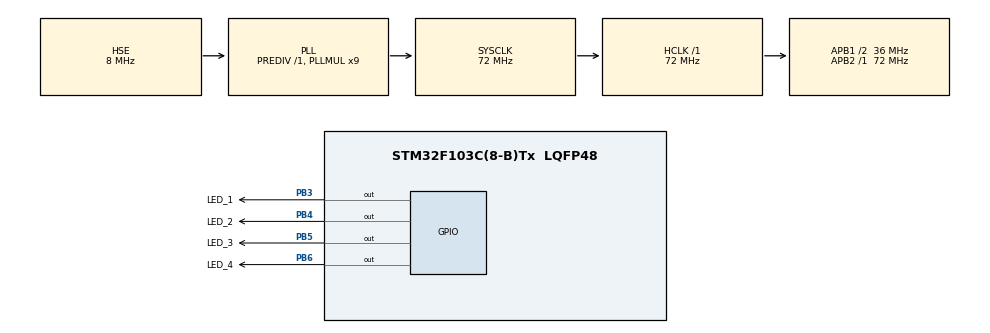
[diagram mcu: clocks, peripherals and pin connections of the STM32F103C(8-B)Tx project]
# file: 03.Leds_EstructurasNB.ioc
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Mcu.Family=STM32F1
Mcu.Name=STM32F103C(8-B)Tx
Mcu.Package=LQFP48
NVIC.PriorityGroup=NVIC_PRIORITYGROUP_4
PB3.GPIO_Label=LED_1
PB3.Signal=GPIO_Output
PB4.GPIO_Label=LED_2
PB4.Signal=GPIO_Output
PB5.GPIO_Label=LED_3
PB5.Signal=GPIO_Output
PB6.GPIO_Label=LED_4
PB6.Signal=GPIO_Output
PD0-OSC_IN.Mode=HSE-External-Oscillator
PD0-OSC_IN.Signal=RCC_OSC_IN
PD1-OSC_OUT.Mode=HSE-External-Oscillator
PD1-OSC_OUT.Signal=RCC_OSC_OUT
ProjectManager.HeapSize=0x200
ProjectManager.StackSize=0x400
ProjectManager.TargetToolchain=STM32CubeIDE
RCC.AHBFreq_Value=72000000
RCC.APB1CLKDivider=RCC_HCLK_DIV2
RCC.APB1Freq_Value=36000000
RCC.APB1TimFreq_Value=72000000
RCC.APB2Freq_Value=72000000
RCC.APB2TimFreq_Value=72000000
RCC.HCLKFreq_Value=72000000
RCC.PLLMUL=RCC_PLL_MUL9
RCC.PLLSourceVirtual=RCC_PLLSOURCE_HSE
RCC.SYSCLKFreq_VALUE=72000000
RCC.SYSCLKSource=RCC_SYSCLKSOURCE_PLLCLK
RCC.USBFreq_Value=72000000
VP_SYS_VS_ND.Mode=No_Debug
board=custom

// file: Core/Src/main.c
/* USER CODE BEGIN Header */
/**
 ******************************************************************************
 * @file           : main.c
 * @brief          : Main program body
 ******************************************************************************
 * @attention
 *
 * Copyright (c) 2026 STMicroelectronics.
 * All rights reserved.
 *
 * This software is licensed under terms that can be found in the LICENSE file
 * in the root directory of this software component.
 * If no LICENSE file comes with this software, it is provided AS-IS.
 *
 ******************************************************************************
 */
/* USER CODE END Header */
#include "main.h"

/* USER CODE BEGIN PTD */

/* Estructura para mapeo y estado de un pin de salida / LED */
typedef struct {
	GPIO_TypeDef *port;
	uint16_t      pin;
	GPIO_PinState estado_activo; /* GPIO_PIN_SET (activo alto) o GPIO_PIN_RESET (activo bajo) */
} OutputPin_t;

/* USER CODE END PTD */

/* USER CODE BEGIN PM */

/* Instancias individuales */
OutputPin_t led_rojo = {LED_1_GPIO_Port, LED_1_Pin,  GPIO_PIN_SET};   /* Activo en ALTO */
OutputPin_t led_blanco  = {LED_2_GPIO_Port, LED_2_Pin,  GPIO_PIN_SET};   /* Activo en ALTO */
OutputPin_t led_amarillo  = {LED_3_GPIO_Port, LED_3_Pin, GPIO_PIN_SET}; /* Activo en ALTO */
OutputPin_t led_azul  = {LED_4_GPIO_Port, LED_4_Pin, GPIO_PIN_SET}; /* Activo en ALTO */

/* Arreglo de salidas para control secuencial o indexado */
OutputPin_t leds[] = {
		{LED_1_GPIO_Port, LED_1_Pin,  GPIO_PIN_SET},
		{LED_2_GPIO_Port, LED_2_Pin,  GPIO_PIN_SET},
		{LED_3_GPIO_Port, LED_3_Pin,  GPIO_PIN_SET},
		{LED_4_GPIO_Port, LED_4_Pin,  GPIO_PIN_SET}
};

#define NUM_LEDS (sizeof(leds) / sizeof(leds[0]))

/* USER CODE END PM */

/* USER CODE BEGIN PV */

uint32_t tick_led_rojo = 0;
uint32_t tick_arreglo  = 0;

/* USER CODE END PV */

void SystemClock_Config(void);
static void MX_GPIO_Init(void);

int main(void)
{

	/* MCU Configuration--------------------------------------------------------*/

	/* Reset of all peripherals, Initializes the Flash interface and the Systick. */
	HAL_Init();

	/* Configure the system clock */
	SystemClock_Config();

	/* Initialize all configured peripherals */
	MX_GPIO_Init();
	/* USER CODE BEGIN 2 */

	/* Inicialización: Apagar todos los LEDs evaluando su nivel activo */
	for (uint8_t i = 0; i < NUM_LEDS; i++)
	{
		GPIO_PinState off_state = (leds[i].estado_activo == GPIO_PIN_SET) ? GPIO_PIN_RESET : GPIO_PIN_SET;
		HAL_GPIO_WritePin(leds[i].port, leds[i].pin, off_state);
	}

	/* USER CODE END 2 */

	/* Infinite loop */
	while (1)
	{

		/* USER CODE BEGIN 3 */

		uint32_t actual_tick = HAL_GetTick();

		/* 1. Tarea independiente para el LED Rojo (Cada 500 ms conmuta) */
		if ((actual_tick - tick_led_rojo) >= 500)
		{
			tick_led_rojo = actual_tick;
			HAL_GPIO_TogglePin(led_rojo.port, led_rojo.pin);
		}

		/* 2. Tarea independiente para el Arreglo de LEDs (Cada 200 ms conmuta) */
		if ((actual_tick - tick_arreglo) >= 200)
		{
			tick_arreglo = actual_tick;
			for (uint8_t i = 1; i < NUM_LEDS; i++)
			{
				HAL_GPIO_TogglePin(leds[i].port, leds[i].pin);
			}
		}
	}
	/* USER CODE END 3 */
}

void SystemClock_Config(void)
{
	RCC_OscInitTypeDef RCC_OscInitStruct = {0};
	RCC_ClkInitTypeDef RCC_ClkInitStruct = {0};

	/** Initializes the RCC Oscillators according to the specified parameters
	 * in the RCC_OscInitTypeDef structure.
	 */
	RCC_OscInitStruct.OscillatorType = RCC_OSCILLATORTYPE_HSE;
	RCC_OscInitStruct.HSEState = RCC_HSE_ON;
	RCC_OscInitStruct.HSEPredivValue = RCC_HSE_PREDIV_DIV1;
	RCC_OscInitStruct.HSIState = RCC_HSI_ON;
	RCC_OscInitStruct.PLL.PLLState = RCC_PLL_ON;
	RCC_OscInitStruct.PLL.PLLSource = RCC_PLLSOURCE_HSE;
	RCC_OscInitStruct.PLL.PLLMUL = RCC_PLL_MUL9;
	if (HAL_RCC_OscConfig(&RCC_OscInitStruct) != HAL_OK)
	{
		Error_Handler();
	}

	/** Initializes the CPU, AHB and APB buses clocks
	 */
	RCC_ClkInitStruct.ClockType = RCC_CLOCKTYPE_HCLK|RCC_CLOCKTYPE_SYSCLK
			|RCC_CLOCKTYPE_PCLK1|RCC_CLOCKTYPE_PCLK2;
	RCC_ClkInitStruct.SYSCLKSource = RCC_SYSCLKSOURCE_PLLCLK;
	RCC_ClkInitStruct.AHBCLKDivider = RCC_SYSCLK_DIV1;
	RCC_ClkInitStruct.APB1CLKDivider = RCC_HCLK_DIV2;
	RCC_ClkInitStruct.APB2CLKDivider = RCC_HCLK_DIV1;

	if (HAL_RCC_ClockConfig(&RCC_ClkInitStruct, FLASH_LATENCY_2) != HAL_OK)
	{
		Error_Handler();
	}
}

static void MX_GPIO_Init(void)
{
	GPIO_InitTypeDef GPIO_InitStruct = {0};

	/* GPIO Ports Clock Enable */
	__HAL_RCC_GPIOD_CLK_ENABLE();
	__HAL_RCC_GPIOB_CLK_ENABLE();

	/*Configure GPIO pin Output Level */
	HAL_GPIO_WritePin(GPIOB, LED_1_Pin|LED_2_Pin|LED_3_Pin|LED_4_Pin, GPIO_PIN_RESET);

	/*Configure GPIO pins : LED_1_Pin LED_2_Pin LED_3_Pin LED_4_Pin */
	GPIO_InitStruct.Pin = LED_1_Pin|LED_2_Pin|LED_3_Pin|LED_4_Pin;
	GPIO_InitStruct.Mode = GPIO_MODE_OUTPUT_PP;
	GPIO_InitStruct.Pull = GPIO_NOPULL;
	GPIO_InitStruct.Speed = GPIO_SPEED_FREQ_LOW;
	HAL_GPIO_Init(GPIOB, &GPIO_InitStruct);

}

void Error_Handler(void)
{
	__disable_irq();
	while (1)
	{
	}
}
